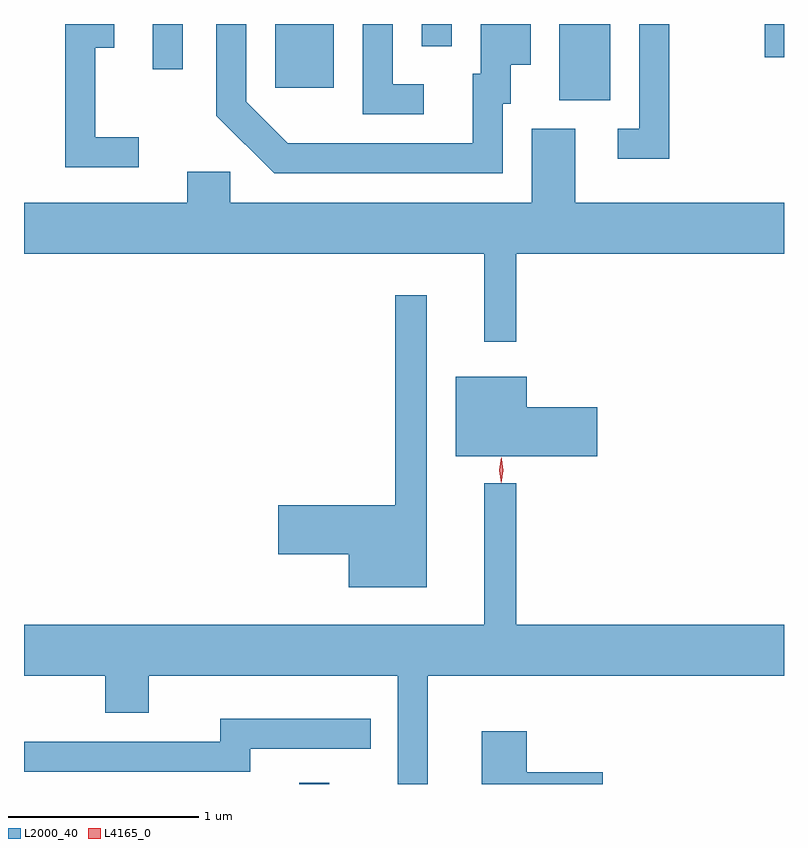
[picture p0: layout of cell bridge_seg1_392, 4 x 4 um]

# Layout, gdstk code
import gdstk
lib = gdstk.Library(unit=1e-6, precision=1e-09)
def R(c, l, rs):  # rectangles x0, y0, x1, y1
    for r in rs: c.add(gdstk.rectangle(r[:2], r[2:], *l))
def P(c, l, *ps):  # polygons
    for p in ps: c.add(gdstk.Polygon(p, *l))
L2000_40 = (2000, 40)
L4165_0 = (4165, 0)

bridge_seg1_392 = lib.new_cell('bridge_seg1_392')
R(bridge_seg1_392, L2000_40, [(441.476,967.826,441.634,967.833), (442.846,971.426,443.114,971.826), (441.351,971.491,441.659,971.826), (440.706,971.588,440.864,971.826), (443.926,971.651,444.028,971.826), (442.121,971.708,442.279,971.826)])
P(bridge_seg1_392, L2000_40, [(442.133,971.509),(441.969,971.509),(441.969,971.826),(441.811,971.826),(441.811,971.351),(442.133,971.351)],
  [(442.549,971.406),(442.589,971.406),(442.589,971.611),(442.694,971.611),(442.694,971.826),(442.431,971.826),(442.431,971.564),(442.391,971.564),(442.391,971.199),(441.417,971.199),(441.199,971.417),(441.199,971.826),(441.041,971.826),(441.041,971.344),(441.344,971.041),(442.549,971.041)],
  [(443.424,971.826),(443.266,971.826),(443.266,971.274),(443.153,971.274),(443.153,971.116),(443.424,971.116)],
  [(440.633,971.229),(440.404,971.229),(440.404,971.701),(440.504,971.701),(440.504,971.826),(440.246,971.826),(440.246,971.071),(440.633,971.071)],
  [(442.619,970.616),(444.028,970.616),(444.028,970.884),(442.929,970.884),(442.929,971.274),(442.701,971.274),(442.701,970.884),(441.114,970.884),(441.114,971.049),(440.886,971.049),(440.886,970.884),(440.028,970.884),(440.028,970.616),(442.451,970.616),(442.451,970.153),(442.619,970.153)],
  [(442.149,970.398),(441.981,970.398),(441.981,969.294),(441.366,969.294),(441.366,969.036),(441.736,969.036),(441.736,968.861),(442.149,968.861)],
  [(443.044,969.809),(442.674,969.809),(442.674,969.969),(442.301,969.969),(442.301,969.551),(443.044,969.551)],
  [(442.154,968.396),(444.028,968.396),(444.028,968.664),(442.619,968.664),(442.619,969.408),(442.451,969.408),(442.451,968.664),(440.028,968.664),(440.028,968.396),(440.456,968.396),(440.456,968.201),(440.684,968.201),(440.684,968.396),(441.996,968.396),(441.996,967.826),(442.154,967.826)],
  [(441.219,968.011),(441.853,968.011),(441.853,968.169),(441.061,968.169),(441.061,968.049),(440.028,968.049),(440.028,967.891),(441.219,967.891)],
  [(443.074,967.889),(442.674,967.889),(442.674,968.104),(442.436,968.104),(442.436,967.826),(443.074,967.826)])
P(bridge_seg1_392, L4165_0, [(442.54,969.41),(442.54,969.41),(442.53,969.478),(442.54,969.546),(442.54,969.546),(442.54,969.546),(442.55,969.478),(442.54,969.41)],
  [(442.54,969.413),(442.54,969.413),(442.531,969.476),(442.541,969.539),(442.542,969.54),(442.542,969.539),(442.551,969.476),(442.54,969.413)])

lib.write_gds('bridge_seg1_392.gds')
